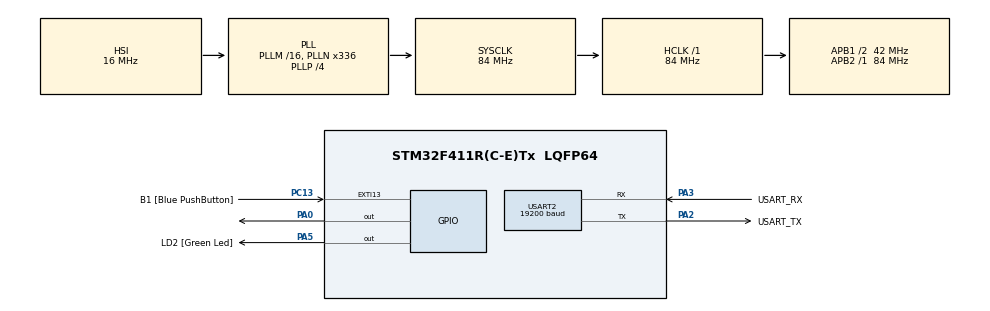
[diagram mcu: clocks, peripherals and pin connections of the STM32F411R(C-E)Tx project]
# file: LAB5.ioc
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Dma.Request0=USART2_TX
Dma.USART2_TX.0.Direction=DMA_MEMORY_TO_PERIPH
Dma.USART2_TX.0.FIFOMode=DMA_FIFOMODE_DISABLE
Dma.USART2_TX.0.Instance=DMA1_Stream6
Dma.USART2_TX.0.MemDataAlignment=DMA_MDATAALIGN_BYTE
Dma.USART2_TX.0.MemInc=DMA_MINC_ENABLE
Dma.USART2_TX.0.Mode=DMA_NORMAL
Dma.USART2_TX.0.PeriphDataAlignment=DMA_PDATAALIGN_BYTE
Dma.USART2_TX.0.PeriphInc=DMA_PINC_DISABLE
Dma.USART2_TX.0.Priority=DMA_PRIORITY_LOW
Mcu.Family=STM32F4
Mcu.Name=STM32F411R(C-E)Tx
Mcu.Package=LQFP64
NVIC.DMA1_Stream6_IRQn=true\:0\:0\:false\:false\:true\:false\:true\:true
NVIC.PriorityGroup=NVIC_PRIORITYGROUP_0
NVIC.USART2_IRQn=true\:0\:0\:false\:false\:true\:true\:true\:true
PA0-WKUP.Signal=GPIO_Output
PA13.GPIO_Label=TMS
PA13.Mode=Serial_Wire
PA13.Signal=SYS_JTMS-SWDIO
PA14.GPIO_Label=TCK
PA14.Mode=Serial_Wire
PA14.Signal=SYS_JTCK-SWCLK
PA2.GPIO_Label=USART_TX
PA2.Mode=Asynchronous
PA2.Signal=USART2_TX
PA3.GPIO_Label=USART_RX
PA3.Mode=Asynchronous
PA3.Signal=USART2_RX
PA5.GPIO_Label=LD2 [Green Led]
PA5.Signal=GPIO_Output
PB3.GPIO_Label=SWO
PB3.Signal=SYS_JTDO-SWO
PC13-ANTI_TAMP.GPIO_Label=B1 [Blue PushButton]
PC13-ANTI_TAMP.GPIO_ModeDefaultEXTI=GPIO_MODE_IT_FALLING
PC13-ANTI_TAMP.Signal=GPXTI13
PC14-OSC32_IN.Mode=LSE-External-Oscillator
PC14-OSC32_IN.Signal=RCC_OSC32_IN
PC15-OSC32_OUT.Mode=LSE-External-Oscillator
PC15-OSC32_OUT.Signal=RCC_OSC32_OUT
PH0\ -\ OSC_IN.Mode=HSE-External-Clock-Source
PH0\ -\ OSC_IN.Signal=RCC_OSC_IN
PH1\ -\ OSC_OUT.Mode=HSE-External-Clock-Source
PH1\ -\ OSC_OUT.Signal=RCC_OSC_OUT
ProjectManager.HeapSize=0x200
ProjectManager.StackSize=0x400
ProjectManager.TargetToolchain=STM32CubeIDE
RCC.48MHZClocksFreq_Value=84000000
RCC.AHBFreq_Value=84000000
RCC.APB1CLKDivider=RCC_HCLK_DIV2
RCC.APB1Freq_Value=42000000
RCC.APB1TimFreq_Value=84000000
RCC.APB2Freq_Value=84000000
RCC.APB2TimFreq_Value=84000000
RCC.CortexFreq_Value=84000000
RCC.FLatency-AdvancedSettings=FLASH_LATENCY_2
RCC.HCLKFreq_Value=84000000
RCC.HSE_VALUE=8000000
RCC.HSI_VALUE=16000000
RCC.PLLN=336
RCC.PLLP=RCC_PLLP_DIV4
RCC.SYSCLKFreq_VALUE=84000000
RCC.SYSCLKSource=RCC_SYSCLKSOURCE_PLLCLK
RCC.VCOOutputFreq_Value=336000000
USART2.BaudRate=19200
USART2.Parity=PARITY_EVEN
USART2.StopBits=STOPBITS_1
USART2.VirtualMode=VM_ASYNC
USART2.WordLength=WORDLENGTH_9B
board=NUCLEO-F411RE

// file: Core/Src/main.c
/* USER CODE BEGIN Header */
/**
  ******************************************************************************
  * @file           : main.c
  * @brief          : Main program body
  ******************************************************************************
  * @attention
  *
  * Copyright (c) 2023 STMicroelectronics.
  * All rights reserved.
  *
  * This software is licensed under terms that can be found in the LICENSE file
  * in the root directory of this software component.
  * If no LICENSE file comes with this software, it is provided AS-IS.
  *
  ******************************************************************************
  */
/* USER CODE END Header */
#include "main.h"

/* USER CODE BEGIN Includes */
#include "stdio.h" //H. Wasupol
#include "string.h"
/* USER CODE END Includes */

UART_HandleTypeDef huart2;
DMA_HandleTypeDef hdma_usart2_tx;

/* USER CODE BEGIN PV */
uint8_t RxBuffer;
uint8_t TxBuffer[1000];

char UserInput;
uint8_t LEDstatus = 1;
uint8_t ButtonModestatus = 0;
uint8_t freq = 5;

uint16_t size;
uint8_t last_button = 1;
uint8_t current_button;
/* USER CODE END PV */

void SystemClock_Config(void);
static void MX_GPIO_Init(void);
static void MX_DMA_Init(void);
static void MX_USART2_UART_Init(void);
/* USER CODE BEGIN PFP */
void UARTITConfig();
void UIState();
void UI_MainMenu();
void UI_LEDMenu();
void UI_SpeedUp();
void UI_SpeedDown();
void UI_OnOff();
void UI_ButtonMenu();
void WrongInput();
/* USER CODE END PFP */

int main(void)
{

  /* MCU Configuration--------------------------------------------------------*/

  /* Reset of all peripherals, Initializes the Flash interface and the Systick. */
  HAL_Init();

  /* Configure the system clock */
  SystemClock_Config();

  /* Initialize all configured peripherals */
  MX_GPIO_Init();
  MX_DMA_Init();
  MX_USART2_UART_Init();
  /* USER CODE BEGIN 2 */
  sprintf((char*)TxBuffer, "\r\n========================================\r\n"
  							   "|               Main Menu              |\r\n"
  							   "========================================\r\n"
  							   "        [0] LED Control\r\n"
  							   "        [1] Button status\r\n"
  							   "----------------------------------------\r\n"
  							   "User Input>> \0");
  HAL_UART_Transmit_DMA(&huart2, TxBuffer, strlen((char*)TxBuffer));

  /* USER CODE END 2 */

  /* Infinite loop */
  while (1)
  {

    /* USER CODE BEGIN 3 */
	  static uint32_t LEDtimestamp = 0;
	  static uint32_t Buttontimestamp = 0;
	  current_button = HAL_GPIO_ReadPin(GPIOC, GPIO_PIN_13);

	  UARTITConfig();

	  //LED status
	  if (LEDstatus == 1)
	  {
		  if(HAL_GetTick() >= LEDtimestamp)
		  {
			  LEDtimestamp = HAL_GetTick() + (1000.0/freq);
			  HAL_GPIO_TogglePin(LD2_GPIO_Port, LD2_Pin);
		  }
	  }
	  else
	  {
		  HAL_GPIO_WritePin(LD2_GPIO_Port, LD2_Pin, GPIO_PIN_RESET);
	  }

	  //Button Mode
	  if (ButtonModestatus == 1)
	  {
		  if (HAL_GetTick() >= Buttontimestamp)
		  {
			  Buttontimestamp = HAL_GetTick() + 500;
			  if (last_button == 1 && current_button == 0)
			  {
				  sprintf((char*)TxBuffer, "Button status : Press\r\n"
										   "User Input>> \0");
				  HAL_UART_Transmit_IT(&huart2, TxBuffer, strlen((char*)TxBuffer));
			  }
			  else if (last_button == 0 && current_button == 1)
			  {
				  sprintf((char*)TxBuffer, "Button status : Unpress\r\n"
										   "User Input>> \0");
				  HAL_UART_Transmit_IT(&huart2, TxBuffer, strlen((char*)TxBuffer));
			  }
			  last_button = current_button;
		  }
	  }

	  HAL_GPIO_TogglePin(GPIOA, GPIO_PIN_0);
  }
  /* USER CODE END 3 */
}

void SystemClock_Config(void)
{
  RCC_OscInitTypeDef RCC_OscInitStruct = {0};
  RCC_ClkInitTypeDef RCC_ClkInitStruct = {0};

  /** Configure the main internal regulator output voltage
  */
  __HAL_RCC_PWR_CLK_ENABLE();
  __HAL_PWR_VOLTAGESCALING_CONFIG(PWR_REGULATOR_VOLTAGE_SCALE1);

  /** Initializes the RCC Oscillators according to the specified parameters
  * in the RCC_OscInitTypeDef structure.
  */
  RCC_OscInitStruct.OscillatorType = RCC_OSCILLATORTYPE_HSI;
  RCC_OscInitStruct.HSIState = RCC_HSI_ON;
  RCC_OscInitStruct.HSICalibrationValue = RCC_HSICALIBRATION_DEFAULT;
  RCC_OscInitStruct.PLL.PLLState = RCC_PLL_ON;
  RCC_OscInitStruct.PLL.PLLSource = RCC_PLLSOURCE_HSI;
  RCC_OscInitStruct.PLL.PLLM = 16;
  RCC_OscInitStruct.PLL.PLLN = 336;
  RCC_OscInitStruct.PLL.PLLP = RCC_PLLP_DIV4;
  RCC_OscInitStruct.PLL.PLLQ = 4;
  if (HAL_RCC_OscConfig(&RCC_OscInitStruct) != HAL_OK)
  {
    Error_Handler();
  }

  /** Initializes the CPU, AHB and APB buses clocks
  */
  RCC_ClkInitStruct.ClockType = RCC_CLOCKTYPE_HCLK|RCC_CLOCKTYPE_SYSCLK
                              |RCC_CLOCKTYPE_PCLK1|RCC_CLOCKTYPE_PCLK2;
  RCC_ClkInitStruct.SYSCLKSource = RCC_SYSCLKSOURCE_PLLCLK;
  RCC_ClkInitStruct.AHBCLKDivider = RCC_SYSCLK_DIV1;
  RCC_ClkInitStruct.APB1CLKDivider = RCC_HCLK_DIV2;
  RCC_ClkInitStruct.APB2CLKDivider = RCC_HCLK_DIV1;

  if (HAL_RCC_ClockConfig(&RCC_ClkInitStruct, FLASH_LATENCY_2) != HAL_OK)
  {
    Error_Handler();
  }
}

static void MX_USART2_UART_Init(void)
{

  huart2.Instance = USART2;
  huart2.Init.BaudRate = 19200;
  huart2.Init.WordLength = UART_WORDLENGTH_9B;
  huart2.Init.StopBits = UART_STOPBITS_1;
  huart2.Init.Parity = UART_PARITY_EVEN;
  huart2.Init.Mode = UART_MODE_TX_RX;
  huart2.Init.HwFlowCtl = UART_HWCONTROL_NONE;
  huart2.Init.OverSampling = UART_OVERSAMPLING_16;
  if (HAL_UART_Init(&huart2) != HAL_OK)
  {
    Error_Handler();
  }

}

static void MX_DMA_Init(void)
{

  /* DMA controller clock enable */
  __HAL_RCC_DMA1_CLK_ENABLE();

  /* DMA interrupt init */
  /* DMA1_Stream6_IRQn interrupt configuration */
  HAL_NVIC_SetPriority(DMA1_Stream6_IRQn, 0, 0);
  HAL_NVIC_EnableIRQ(DMA1_Stream6_IRQn);

}

static void MX_GPIO_Init(void)
{
  GPIO_InitTypeDef GPIO_InitStruct = {0};

  /* GPIO Ports Clock Enable */
  __HAL_RCC_GPIOC_CLK_ENABLE();
  __HAL_RCC_GPIOH_CLK_ENABLE();
  __HAL_RCC_GPIOA_CLK_ENABLE();
  __HAL_RCC_GPIOB_CLK_ENABLE();

  /*Configure GPIO pin Output Level */
  HAL_GPIO_WritePin(GPIOA, GPIO_PIN_0|LD2_Pin, GPIO_PIN_RESET);

  /*Configure GPIO pin : B1_Pin */
  GPIO_InitStruct.Pin = B1_Pin;
  GPIO_InitStruct.Mode = GPIO_MODE_IT_FALLING;
  GPIO_InitStruct.Pull = GPIO_NOPULL;
  HAL_GPIO_Init(B1_GPIO_Port, &GPIO_InitStruct);

  /*Configure GPIO pins : PA0 LD2_Pin */
  GPIO_InitStruct.Pin = GPIO_PIN_0|LD2_Pin;
  GPIO_InitStruct.Mode = GPIO_MODE_OUTPUT_PP;
  GPIO_InitStruct.Pull = GPIO_NOPULL;
  GPIO_InitStruct.Speed = GPIO_SPEED_FREQ_LOW;
  HAL_GPIO_Init(GPIOA, &GPIO_InitStruct);

}

/* USER CODE BEGIN 4 */
void UARTITConfig()
{
	//start UART in IT Mode
	HAL_UART_Receive_IT(&huart2, &RxBuffer, 1);
}

void HAL_UART_RxCpltCallback(UART_HandleTypeDef *huart)
{
	if (huart == &huart2)
	{
		UserInput = (char)RxBuffer;
		UIState();

		HAL_UART_Receive_IT(&huart2, &RxBuffer, 1);
	}
}

void UIState()
{
	static enum {Main, LED, Button} state = Main;

	switch(state)
	{
	case Main:
		if (UserInput == '0')
		{
			UI_LEDMenu();
			state = LED;
		}
		else if (UserInput == '1')
		{
			ButtonModestatus = 1;
			UI_ButtonMenu();
			state = Button;
		}
		else
		{
			WrongInput();
		}
		break;

	case LED:
		if (UserInput == 'a')
		{
			freq++;
			UI_SpeedUp();
		}
		else if (UserInput == 's')
		{
			if (freq >= 2)
			{
				freq--;
			}
			UI_SpeedDown();
		}
		else if (UserInput == 'd')
		{
			LEDstatus = (LEDstatus + 1) % 2;
			UI_OnOff();
		}
		else if (UserInput == 'x')
		{
			UI_MainMenu();
			state = Main;
		}
		else
		{
			WrongInput();
		}
		break;

	case Button:
		if (UserInput == 'x')
		{
			ButtonModestatus = 0;
			UI_MainMenu();
			state = Main;
		}
		else
		{
			WrongInput();
		}
		break;
	}
	size = strlen((char*)TxBuffer);
	HAL_UART_Transmit_DMA(&huart2, TxBuffer, size);
}

void UI_MainMenu()
{
	sprintf((char*)TxBuffer, "%c\r\n========================================\r\n"
							       "|               Main Menu              |\r\n"
							       "========================================\r\n"
							       "        [0] LED Control\r\n"
							       "        [1] Button status\r\n"
							       "----------------------------------------\r\n"
							       "User Input>> \0", UserInput);
}

void UI_LEDMenu()
{
	sprintf((char*)TxBuffer, "%c\r\n========================================\r\n"
						           "|               LED Menu               |\r\n"
						           "========================================\r\n"
							       "    Current blinking speed : %d Hz\r\n"
							       "        [a] Speed Up   (+1 Hz)\r\n"
							       "        [s] Speed Down (-1 Hz)\r\n"
							       "        [d] On/Off\r\n"
							       "        [x] back\r\n"
							       "----------------------------------------\r\n"
							       "User Input>> \0", UserInput, freq);
}

void UI_ButtonMenu()
{
	sprintf((char*)TxBuffer, "%c\r\n========================================\r\n"
							       "|              Button Menu             |\r\n"
							       "========================================\r\n"
							       "        [x] back\r\n"
							       "----------------------------------------\r\n"
							       "User Input>> \0", UserInput);
}

void UI_SpeedUp()
{
	sprintf((char*)TxBuffer, "%c\r\nCurrent blinking speed is now increase to %d Hz\r\n"
							       "User Input>> \0", UserInput, freq);
}

void UI_SpeedDown()
{
	if (freq > 1)
	{
		sprintf((char*)TxBuffer, "%c\r\nCurrent blinking speed is now decrease to %d Hz\r\n"
									   "User Input>> \0", UserInput, freq);
	}
	else
	{
		sprintf((char*)TxBuffer, "%c\r\nCurrent blinking speed is now at the minimum\r\n"
									   "User Input>> \0", UserInput);
	}
}

void UI_OnOff()
{
	if (LEDstatus == 1)
	{
		sprintf((char*)TxBuffer, "%c\r\nLED status : ON\r\n"
									   "User Input>> \0", UserInput);
	}
	else
	{
		sprintf((char*)TxBuffer, "%c\r\nLED status : OFF\r\n"
									   "User Input>> \0", UserInput);
	}
}

void WrongInput()
{
	sprintf((char*)TxBuffer, "%c\r\nInvalid Input\r\n"
							       "User Input>> \0", UserInput);
}
/* USER CODE END 4 */

void Error_Handler(void)
{
  __disable_irq();
  while (1)
  {
  }
}
